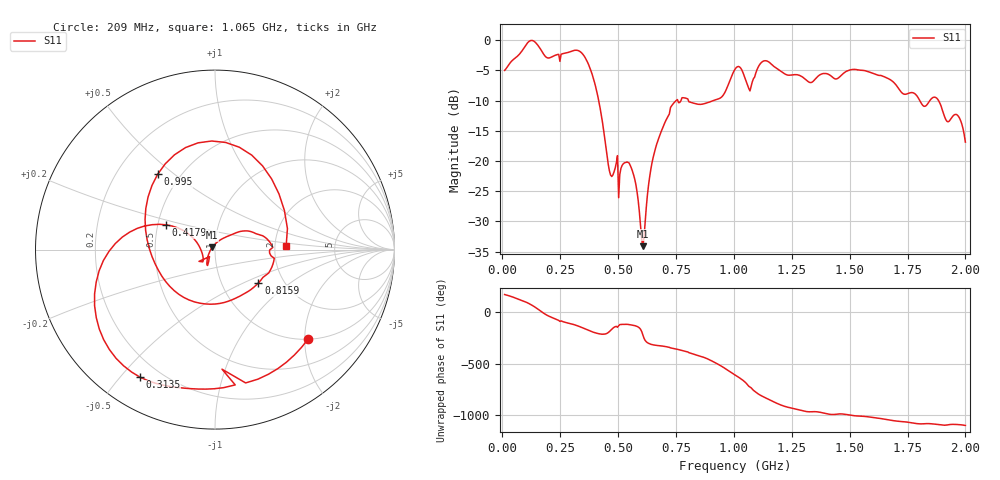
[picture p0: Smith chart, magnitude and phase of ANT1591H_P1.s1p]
!Created with skrf (http://scikit-rf.org).
# Hz S RI R 50.0
!freq ReS11 ImS11
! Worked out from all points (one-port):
!   401 points, 10 MHz to 2 GHz, reference 50 ohm
!   lowest |S11| = -34.1 dB at 607 MHz (marker M1), VSWR 1.04, Z = 48.4 + j1.16 ohm
!   |S11| at or under -10 dB: 416.3 MHz to 750.9 MHz (334.6 MHz wide, 57.3 % of centre); 803.9 MHz to 911.5 MHz (107.7 MHz wide, 12.6 % of centre); 1.884 GHz to end of sweep (the widest 3 of 5)
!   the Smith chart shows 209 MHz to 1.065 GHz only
!   S11 on the Smith chart (normalised r, x): 209 MHz: 1.01, -2.09; 313.5 MHz: 0.13, -0.56; 417.9 MHz: 0.55, +0.17; 816 MHz: 1.49, -0.61; 995 MHz: 0.38, +0.44; 1.065 GHz: 2.31, +0.11
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1e7  -0.559 0.0545
6.97e7  -0.4718 0.5827
1.1945e8  0.1395 0.9771
1.5925e8  0.8004 0.3572
2.09e8  0.5207 -0.4964
2.5875e8  0.0486 -0.7692
3.13475e8  -0.4181 -0.7105
3.5825e8  -0.6708 -0.2462
4.1795e8  -0.2719 0.1381
4.62725e8  -0.0823 0.00732
5.075e8  -0.0358 -0.0687
5.5725e8  -0.0452 -0.0749
6.07e8  -0.0157 0.0119
6.5675e8  0.0854 0.0805
7.5625e8  0.3221 0.0124
8.1595e8  0.242 -0.1856
9.1545e8  -0.1737 -0.2666
9.9505e8  -0.3195 0.4198
1.005e9  -0.2256 0.5283
1.029875e9  0.1354 0.5704
1.0647e9  0.3965 0.0202
1.1045e9  0.2036 -0.559
1.129375e9  -0.1303 -0.66
1.179125e9  -0.5416 -0.2447
1.25375e9  -0.4418 0.2661
1.5025e9  0.0729 0.5628
1.75125e9  0.3506 0.0869
2e9  0.1366 -0.0431
